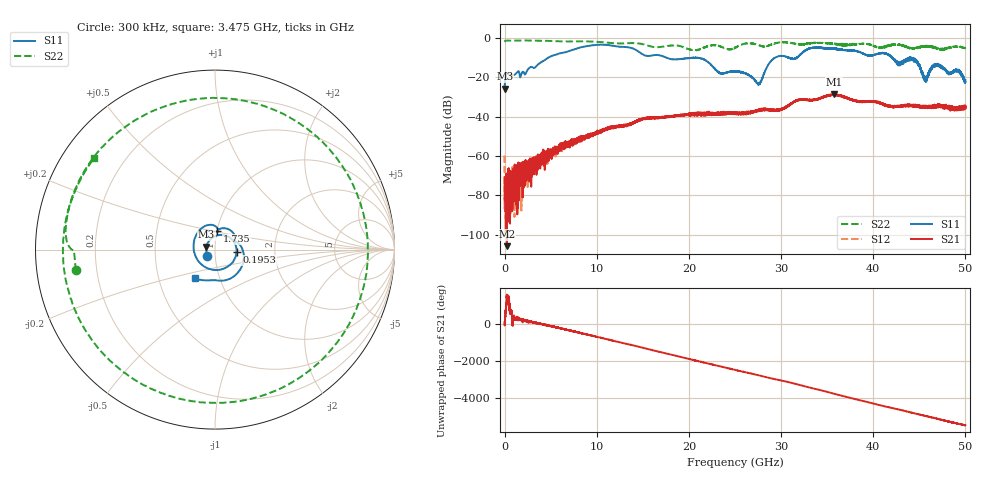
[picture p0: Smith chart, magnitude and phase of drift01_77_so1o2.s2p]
!Created with skrf (http://scikit-rf.org).
# Hz S RI R 50.0
!freq ReS11 ImS11 ReS21 ImS21 ReS12 ImS12 ReS22 ImS22
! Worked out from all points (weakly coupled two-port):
!   10001 points, 300 kHz to 50 GHz, reference 50 ohm
!   highest |S21| = -28.69 dB at 35.74 GHz (marker M1); lowest = -105.8 dB at 260.3 MHz (marker M2)
!   lowest |S11| = -25.8 dB at 5.3 MHz (marker M3), VSWR 1.11, Z = 45.3 + j1.42 ohm
!   |S11| at or under -10 dB: start of sweep to 4.765 GHz; 17.52 GHz to 29.37 GHz (11.85 GHz wide, 50.5 % of centre); 44.15 GHz to end of sweep (the widest 3 of 14)
!   |S22| runs from -6.4 to -1.4 dB; largest |S21 - S12| = 0.004
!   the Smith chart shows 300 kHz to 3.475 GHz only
!   S11 on the Smith chart (normalised r, x): 300 kHz: 0.91, -0.07; 195.3 MHz: 1.27, -0.04; 1.735 GHz: 1.00, +0.21; 3.475 GHz: 0.77, -0.26
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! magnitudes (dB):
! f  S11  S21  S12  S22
! 300 kHz  -24.4  -78.0  -59.9  -2.1
! 5.3 MHz  -25.8  -75.4  -84.2  -2.1
! 195.3 MHz  -18.4  -74.0  -74.4  -1.4
! 260.3 MHz  -18.3  -105.8  -80.2  -1.4
! 1.735 GHz  -19.6  -71.2  -70.4  -1.4
! 3.475 GHz  -14.2  -64.5  -62.1  -1.5
! 8.335 GHz  -4.8  -52.7  -51.7  -1.8
! 16.67 GHz  -8.8  -40.9  -40.6  -4.8
! 21.21 GHz  -10.3  -38.7  -38.8  -5.8
! 23.38 GHz  -18.1  -38.2  -38.4  -4.2
! 25 GHz  -17.0  -38.2  -38.2  -5.0
! 27.59 GHz  -23.1  -36.7  -36.9  -3.7
! 29.3 GHz  -10.3  -36.8  -36.6  -2.9
! 31.48 GHz  -10.6  -32.2  -32.5  -3.0
! 33.34 GHz  -5.1  -31.5  -31.7  -2.7
! 35.74 GHz  -5.6  -28.7  -28.8  -3.2
! 41.67 GHz  -8.5  -34.9  -34.6  -4.0
! 42.8 GHz  -12.6  -34.8  -34.9  -3.5
! 44.49 GHz  -11.3  -34.6  -34.2  -5.2
! 45.63 GHz  -21.7  -34.8  -35.2  -4.3
! 46.95 GHz  -13.4  -34.5  -34.7  -5.4
! 50 GHz  -21.5  -34.8  -35.0  -5.2
